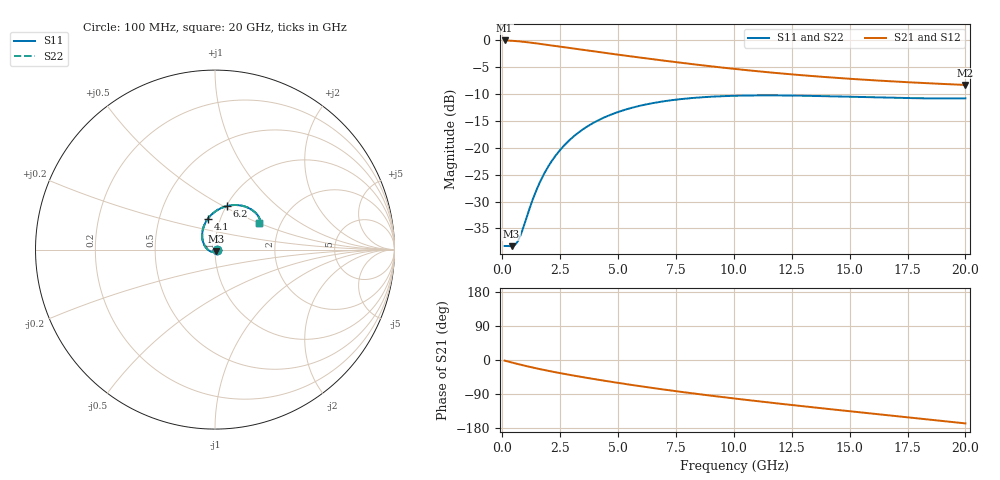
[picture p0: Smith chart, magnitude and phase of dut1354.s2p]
! Touchstone file exported from HFSS 2024.1.0
!  File:  C:/UserFiles/LocalFiles/RDL_TSV_Batchsim/temp_RDL_TSV_1354_1780394779.aedt
!  Generated:  06:21:46 PM Jun  2, 2026
!  Design:  RDL_TSV
!  Project:  temp_RDL_TSV_1354_1780394779
!  Setup:  Setup1
!  Solution:  Sweep
! Variables:
!  dtsv = 10.83um
!  hbump = 3um
!  htsv = 82.34um
!  ldown = 266.58um
!  lrdl = 340.87um
!  p = 40
!  p1 = 55.74um
!  rhole = 10um
!  subl = 2163.22um
!  t = 450um
!  tdown = 3.85um
!  trdl = 2.35um
!  viad = 10um
!  wdown = 20.09um
!  wrdl = 27.04um
!  xbump = 18um
# GHz S MA R 50.000000
! Terminal data exported
! Port[1] = TM1_1_T1
! Port[2] = TM1_4_T1
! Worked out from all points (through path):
!   200 points, 100 MHz to 20 GHz, reference 50 ohm
!   highest |S21| = -0.11 dB at 100 MHz (marker M1); lowest = -8.4 dB at 20 GHz (marker M2)
!   group delay of S21, straight-line fit = 21.8 ps
!   lowest |S11| = -38.3 dB at 400 MHz (marker M3), VSWR 1.02, Z = 50.8 - j0.929 ohm
!   |S11| at or under -10 dB: start of sweep to end of sweep
!   |S22| runs from -38.3 to -10.3 dB; largest |S21 - S12| = 1.9e-14
!   S11 on the Smith chart (normalised r, x): 100 MHz: 1.02, -0.00; 4.1 GHz: 0.87, +0.31; 6.2 GHz: 1.01, +0.52; 20 GHz: 1.56, +0.50
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0.1  0.01221 -10.3  0.9873 -1.6  0.9873 -1.6  0.01221 -10.3
! Gamma 0 0 0 0
! Port Impedance 50 0 50 0
0.4  0.01218 -48.7  0.9808 -6.5  0.9808 -6.5  0.01218 -48.7
0.6  0.01284 -81.6  0.9739 -9.6  0.9739 -9.6  0.01284 -81.6
0.7  0.0139 -98.7  0.9698 -11.1  0.9698 -11.1  0.0139 -98.7
0.8  0.0156 -114.7  0.9652 -12.6  0.9652 -12.6  0.0156 -114.7
1.4  0.03682 -175.4  0.932 -21.1  0.932 -21.1  0.03683 -175.4
1.7  0.05158 167.8  0.9132 -25.0  0.9132 -25.0  0.05159 167.8
2  0.06757 154.8  0.8942 -28.8  0.8942 -28.8  0.06758 154.8
2.3  0.08414 144.2  0.8753 -32.4  0.8753 -32.4  0.08415 144.2
2.7  0.1063 132.3  0.8509 -36.9  0.8509 -36.9  0.1064 132.3
3.1  0.128 122.3  0.8275 -41.3  0.8275 -41.3  0.128 122.3
3.5  0.1487 113.7  0.8051 -45.6  0.8051 -45.6  0.1487 113.7
4.1  0.1773 102.6  0.7732 -51.7  0.7732 -51.7  0.1774 102.6
5.1  0.2177 87.7  0.7237 -61.3  0.7237 -61.3  0.2178 87.7
6.2  0.2515 74.7  0.6739 -71.3  0.6739 -71.3  0.2515 74.8
6.8  0.2656 68.8  0.6487 -76.5  0.6487 -76.5  0.2656 68.9
8.4  0.2909 56.1  0.5885 -89.4  0.5885 -89.4  0.2909 56.1
10.1  0.303 46.2  0.5356 -102.1  0.5356 -102.1  0.303 46.2
11.7  0.3053 39.4  0.4954 -113.4  0.4954 -113.4  0.3052 39.4
13.4  0.3019 34.5  0.4612 -124.7  0.4612 -124.7  0.3019 34.5
16.7  0.2903 30.1  0.4135 -146.1  0.4135 -146.1  0.2902 30.2
20  0.2866 30.7  0.3816 -167.3  0.3816 -167.3  0.2866 30.8
